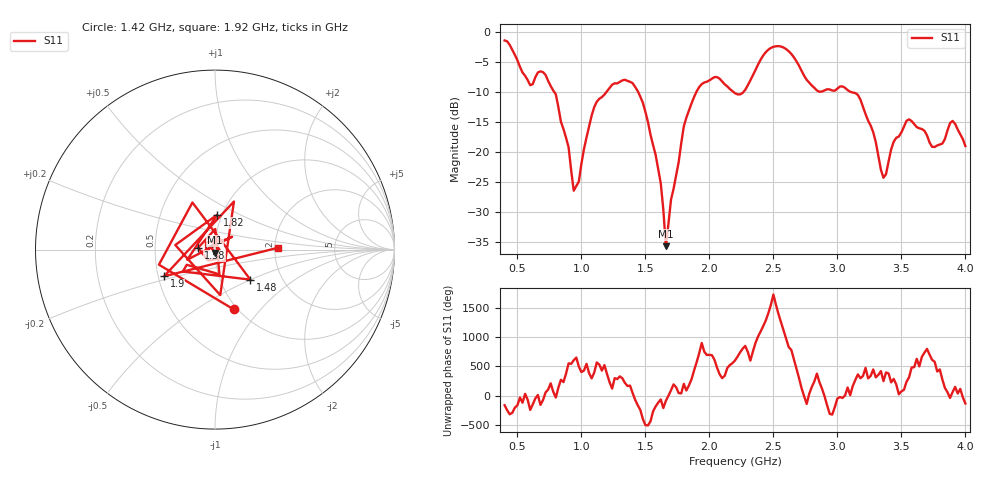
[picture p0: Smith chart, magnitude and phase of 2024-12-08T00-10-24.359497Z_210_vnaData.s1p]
!Created with skrf (http://scikit-rf.org).
# Hz S RI R 50.0
!freq ReS11 ImS11
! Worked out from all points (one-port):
!   181 points, 400 MHz to 4 GHz, reference 50 ohm
!   lowest |S11| = -35.7 dB at 1.66 GHz (marker M1), VSWR 1.03, Z = 50 - j1.65 ohm
!   |S11| at or under -10 dB: 789.3 MHz to 1.194 GHz (405.1 MHz wide, 40.8 % of centre); 1.444 GHz to 1.897 GHz (453 MHz wide, 27.1 % of centre); 3.112 GHz to end of sweep (the widest 3 of 4)
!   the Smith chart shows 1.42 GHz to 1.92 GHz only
!   S11 on the Smith chart (normalised r, x): 1.42 GHz: 0.96, -0.73; 1.48 GHz: 1.39, -0.50; 1.58 GHz: 0.83, +0.02; 1.82 GHz: 0.95, +0.38; 1.9 GHz: 0.54, -0.18; 1.92 GHz: 2.07, +0.05
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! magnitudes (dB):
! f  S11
! 400 MHz  -1.4
! 600 MHz  -8.8
! 720 MHz  -7.1
! 860 MHz  -16.1
! 940 MHz  -26.4
! 1.1 GHz  -12.5
! 1.3 GHz  -8.3
! 1.42 GHz  -9.1
! 1.48 GHz  -11.7
! 1.58 GHz  -20.4
! 1.62 GHz  -25.2
! 1.66 GHz  -35.7
! 1.76 GHz  -21.6
! 1.82 GHz  -14.2
! 1.9 GHz  -9.9
! 1.92 GHz  -9.1
! 2.06 GHz  -7.5
! 2.2 GHz  -10.2
! 2.48 GHz  -2.6
! 2.66 GHz  -4.2
! 2.84 GHz  -9.7
! 3.1 GHz  -9.9
! 3.28 GHz  -16.7
! 3.36 GHz  -24.3
! 3.56 GHz  -14.5
! 3.76 GHz  -19.1
! 3.9 GHz  -14.8
! 4 GHz  -19.0
